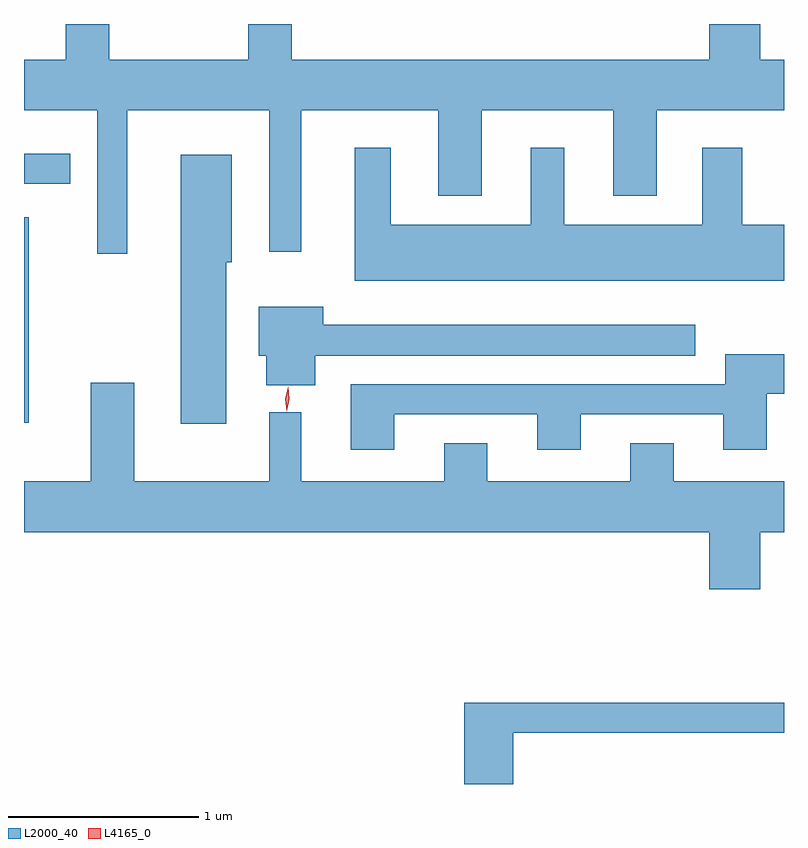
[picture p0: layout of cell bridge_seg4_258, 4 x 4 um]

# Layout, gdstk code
import gdstk
lib = gdstk.Library(unit=1e-6, precision=1e-09)
def R(c, l, rs):  # rectangles x0, y0, x1, y1
    for r in rs: c.add(gdstk.rectangle(r[:2], r[2:], *l))
def P(c, l, *ps):  # polygons
    for p in ps: c.add(gdstk.Polygon(p, *l))
L2000_40 = (2000, 40)
L4165_0 = (4165, 0)

bridge_seg4_258 = lib.new_cell('bridge_seg4_258')
R(bridge_seg4_258, L2000_40, [(671.01,1335.273,671.034,1336.353), (671.01,1336.531,671.253,1336.689)])
P(bridge_seg4_258, L2000_40, [(671.554,1336.916),(672.301,1336.916),(672.301,1336.173),(672.469,1336.173),(672.469,1336.916),(673.191,1336.916),(673.191,1336.466),(673.419,1336.466),(673.419,1336.916),(674.111,1336.916),(674.111,1336.466),(674.339,1336.466),(674.339,1336.916),(675.01,1336.916),(675.01,1337.184),(674.884,1337.184),(674.884,1337.371),(674.616,1337.371),(674.616,1337.184),(672.419,1337.184),(672.419,1337.371),(672.191,1337.371),(672.191,1337.184),(671.459,1337.184),(671.459,1337.371),(671.231,1337.371),(671.231,1337.184),(671.01,1337.184),(671.01,1336.916),(671.396,1336.916),(671.396,1336.163),(671.554,1336.163)],
  [(675.01,1336.314),(674.789,1336.314),(674.789,1336.719),(674.581,1336.719),(674.581,1336.314),(673.854,1336.314),(673.854,1336.719),(673.676,1336.719),(673.676,1336.314),(672.939,1336.314),(672.939,1336.719),(672.751,1336.719),(672.751,1336.021),(675.01,1336.021)],
  [(672.074,1336.116),(672.104,1336.116),(672.104,1336.684),(671.836,1336.684),(671.836,1335.266),(672.074,1335.266)],
  [(672.544,1335.626),(674.543,1335.626),(674.543,1335.789),(672.584,1335.789),(672.584,1335.884),(672.246,1335.884),(672.246,1335.626),(672.286,1335.626),(672.286,1335.471),(672.544,1335.471)],
  [(672.959,1335.316),(673.711,1335.316),(673.711,1335.131),(673.939,1335.131),(673.939,1335.316),(674.691,1335.316),(674.691,1335.131),(674.919,1335.131),(674.919,1335.426),(675.01,1335.426),(675.01,1335.634),(674.701,1335.634),(674.701,1335.474),(672.731,1335.474),(672.731,1335.131),(672.959,1335.131)],
  [(674.884,1334.696),(675.01,1334.696),(675.01,1334.964),(674.429,1334.964),(674.429,1335.164),(674.201,1335.164),(674.201,1334.964),(673.449,1334.964),(673.449,1335.164),(673.221,1335.164),(673.221,1334.964),(672.469,1334.964),(672.469,1335.328),(672.301,1335.328),(672.301,1334.964),(671.589,1334.964),(671.589,1335.484),(671.361,1335.484),(671.361,1334.964),(671.01,1334.964),(671.01,1334.696),(674.616,1334.696),(674.616,1334.396),(674.884,1334.396)],
  [(673.584,1333.641),(675.01,1333.641),(675.01,1333.799),(673.326,1333.799),(673.326,1333.371),(673.584,1333.371)])
P(bridge_seg4_258, L4165_0, [(672.392,1335.333),(672.392,1335.334),(672.386,1335.398),(672.4,1335.462),(672.4,1335.462),(672.401,1335.462),(672.406,1335.397),(672.393,1335.334)])

lib.write_gds('bridge_seg4_258.gds')
